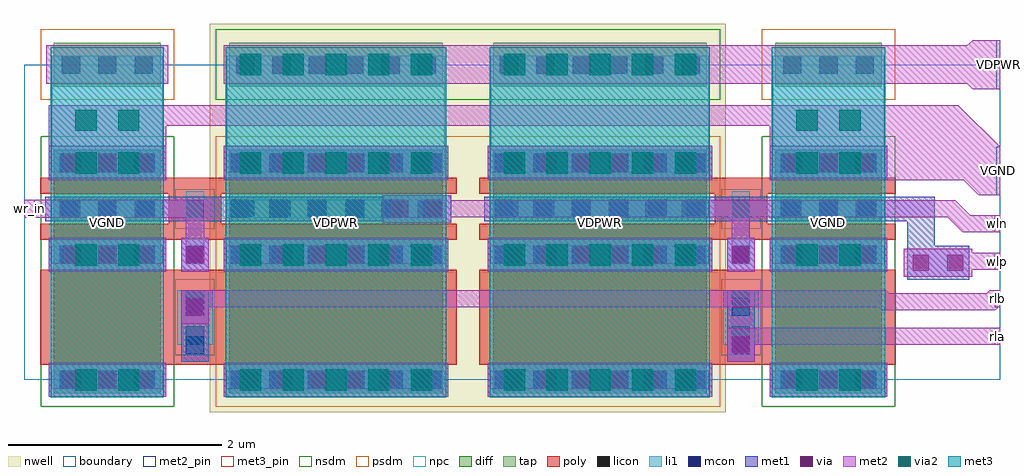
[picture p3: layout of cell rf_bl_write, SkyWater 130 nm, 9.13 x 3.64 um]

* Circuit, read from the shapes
.subckt rf_bl_write VDPWR VGND rla rlb wln wlp wr_in
XM1 VGND rlb VGND VGND sky130_fd_pr__nfet_01v8 w=1 l=0.89
XM2 wln wr_in VGND VGND sky130_fd_pr__nfet_01v8 w=1 l=0.15 m=2
XM3 VGND rla VGND VGND sky130_fd_pr__nfet_01v8 w=1 l=0.89
XM4 wlp wln VGND VGND sky130_fd_pr__nfet_01v8 w=1 l=0.15 m=2
XM5 VDPWR rlb VDPWR VDPWR sky130_fd_pr__pfet_01v8 w=2 l=0.89
XM6 wln wr_in VDPWR VDPWR sky130_fd_pr__pfet_01v8 w=2 l=0.15 m=2
XM7 VDPWR rla VDPWR VDPWR sky130_fd_pr__pfet_01v8 w=2 l=0.89
XM8 wlp wln VDPWR VDPWR sky130_fd_pr__pfet_01v8 w=2 l=0.15 m=2
.ends

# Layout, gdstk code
import gdstk
lib = gdstk.Library(unit=1e-6, precision=1e-09)
def R(c, l, rs):  # rectangles x0, y0, x1, y1
    for r in rs: c.add(gdstk.rectangle(r[:2], r[2:], *l))
def A(c, l, x, y, w, h, nx, ny, dx, dy):  # array of equal rectangles
    R(c, l, [(x+i*dx, y+j*dy, x+i*dx+w, y+j*dy+h) for i in range(nx) for j in range(ny)])
def P(c, l, *ps):  # polygons
    for p in ps: c.add(gdstk.Polygon(p, *l))
nwell = (64, 20)
diff = (65, 20)
tap = (65, 44)
poly = (66, 20)
licon = (66, 44)
li1 = (67, 20)
mcon = (67, 44)
met1 = (68, 20)
via = (68, 44)
met2_pin = (69, 16)
met2 = (69, 20)
via2 = (69, 44)
met3_pin = (70, 16)
met3 = (70, 20)
nsdm = (93, 44)
psdm = (94, 20)
npc = (95, 20)
boundary = (235, 4)

rf_bl_write = lib.new_cell('rf_bl_write')
R(rf_bl_write, nwell, [(2.6,-1.66,7.43,1.98)])
R(rf_bl_write, diff, [(1.14,-1.48,2.14,0.8), (2.78,-1.48,4.78,0.8), (5.25,-1.48,7.25,0.8), (7.89,-1.48,8.89,0.8)])
R(rf_bl_write, tap, [(1.14,1.39,2.14,1.8), (2.78,1.39,4.78,1.8), (5.25,1.39,7.25,1.8), (7.89,1.39,8.89,1.8)])
R(rf_bl_write, poly, [(1.01,-1.215,4.91,-0.325), (5.12,-1.215,9.02,-0.325), (1.01,-0.045,4.91,0.105), (5.12,-0.045,9.02,0.105), (2.215,0.105,2.705,0.385), (7.325,0.105,7.815,0.385), (1.01,0.385,4.91,0.535), (5.12,0.385,9.02,0.535)])
A(rf_bl_write, licon, 1.215, -1.44, 0.17, 0.17, 3, 2, 0.34, 1.17)
A(rf_bl_write, licon, 2.845, -1.44, 0.17, 0.17, 6, 2, 0.34, 1.17)
A(rf_bl_write, licon, 5.315, -1.44, 0.17, 0.17, 6, 2, 0.34, 1.17)
A(rf_bl_write, licon, 7.965, -1.44, 0.17, 0.17, 3, 2, 0.34, 1.17)
A(rf_bl_write, licon, 1.215, 0.16, 0.17, 0.17, 3, 2, 0.34, 0.43)
A(rf_bl_write, licon, 2.845, 0.16, 0.17, 0.17, 6, 2, 0.34, 0.43)
A(rf_bl_write, licon, 5.315, 0.16, 0.17, 0.17, 6, 2, 0.34, 0.43)
A(rf_bl_write, licon, 7.965, 0.16, 0.17, 0.17, 3, 2, 0.34, 0.43)
A(rf_bl_write, licon, 1.215, 1.51, 0.17, 0.17, 3, 1, 0.34, 0)
A(rf_bl_write, licon, 2.845, 1.51, 0.17, 0.17, 6, 1, 0.34, 0)
A(rf_bl_write, licon, 5.315, 1.51, 0.17, 0.17, 6, 1, 0.34, 0)
A(rf_bl_write, licon, 7.965, 1.51, 0.17, 0.17, 3, 1, 0.34, 0)
R(rf_bl_write, licon, [(2.375,-1.025,2.545,-0.855), (7.485,-1.025,7.655,-0.855), (2.375,-0.685,2.545,-0.515), (7.485,-0.685,7.655,-0.515), (2.375,0.16,2.545,0.33), (7.485,0.16,7.655,0.33)])
R(rf_bl_write, li1, [(1.12,-1.44,2.16,-1.27), (2.76,-1.44,4.8,-1.27), (5.23,-1.44,7.27,-1.27), (7.87,-1.44,8.91,-1.27), (2.33,-1.125,2.59,-1.025), (7.44,-1.125,7.7,-1.025), (2.295,-1.025,2.625,-0.515), (7.405,-1.025,7.735,-0.515), (1.12,-0.27,2.16,-0.1), (2.375,-0.27,2.545,0.41), (2.76,-0.27,4.8,-0.1), (5.23,-0.27,7.27,-0.1), (7.485,-0.27,7.655,0.41), (7.87,-0.27,8.91,-0.1), (1.12,0.16,2.16,0.33), (2.76,0.16,4.8,0.33), (5.23,0.16,7.27,0.33), (7.87,0.16,8.91,0.33), (1.12,0.59,2.16,1.68), (2.76,0.59,4.8,1.68), (5.23,0.59,7.27,1.68), (7.87,0.59,8.91,1.68)])
A(rf_bl_write, mcon, 1.195, -1.44, 0.17, 0.17, 3, 2, 0.36, 1.17)
A(rf_bl_write, mcon, 2.795, -1.44, 0.17, 0.17, 6, 2, 0.36, 1.17)
A(rf_bl_write, mcon, 5.265, -1.44, 0.17, 0.17, 6, 2, 0.36, 1.17)
A(rf_bl_write, mcon, 7.945, -1.44, 0.17, 0.17, 3, 2, 0.36, 1.17)
A(rf_bl_write, mcon, 1.195, 0.16, 0.17, 0.17, 3, 2, 0.36, 0.43)
A(rf_bl_write, mcon, 2.795, 0.16, 0.17, 0.17, 6, 2, 0.36, 0.43)
A(rf_bl_write, mcon, 5.265, 0.16, 0.17, 0.17, 6, 2, 0.36, 0.43)
A(rf_bl_write, mcon, 7.945, 0.16, 0.17, 0.17, 3, 2, 0.36, 0.43)
R(rf_bl_write, mcon, [(2.375,-1.115,2.545,-0.945), (7.485,-1.115,7.655,-0.945), (2.375,-0.755,2.545,-0.585), (7.485,-0.755,7.655,-0.585), (2.375,-0.27,2.545,-0.1), (7.485,-0.27,7.655,-0.1)])
R(rf_bl_write, met1, [(1.09,-1.515,2.19,-1.195), (2.73,-1.515,4.83,-1.195), (5.2,-1.515,7.3,-1.195), (7.84,-1.515,8.94,-1.195), (2.33,-1.185,2.59,-0.515), (7.44,-1.185,7.7,-0.515), (9.125,-0.42,9.705,-0.1), (1.09,-0.345,2.19,-0.025), (2.33,-0.345,2.59,-0.025), (2.73,-0.345,4.83,-0.025), (5.2,-0.345,7.3,-0.025), (7.44,-0.345,7.7,-0.025), (7.84,-0.345,8.94,-0.025), (9.125,-0.1,9.385,0.13), (4.22,0.115,4.86,0.13), (1.06,0.13,4.86,0.36), (5.17,0.13,9.385,0.36), (4.22,0.36,4.86,0.375), (1.09,0.515,2.19,0.835), (2.73,0.515,4.83,0.835), (5.2,0.515,7.3,0.835), (7.84,0.515,8.94,0.835)])
A(rf_bl_write, via, 1.245, -1.43, 0.15, 0.15, 3, 2, 0.32, 1.17)
A(rf_bl_write, via, 2.905, -1.43, 0.15, 0.15, 6, 2, 0.32, 1.17)
A(rf_bl_write, via, 5.375, -1.43, 0.15, 0.15, 6, 2, 0.32, 1.17)
A(rf_bl_write, via, 7.995, -1.43, 0.15, 0.15, 3, 2, 0.32, 1.17)
A(rf_bl_write, via, 1.245, 0.6, 0.15, 0.15, 3, 1, 0.32, 0)
A(rf_bl_write, via, 2.905, 0.6, 0.15, 0.15, 6, 1, 0.32, 0)
A(rf_bl_write, via, 5.375, 0.6, 0.15, 0.15, 6, 1, 0.32, 0)
A(rf_bl_write, via, 7.995, 0.6, 0.15, 0.15, 3, 1, 0.32, 0)
R(rf_bl_write, via, [(7.495,-1.1,7.645,-0.95), (2.385,-0.75,2.535,-0.6), (9.18,-0.335,9.33,-0.185), (9.5,-0.335,9.65,-0.185), (2.385,-0.26,2.535,-0.11), (7.495,-0.26,7.645,-0.11), (4.305,0.17,4.455,0.32), (4.625,0.17,4.775,0.32)])
A(rf_bl_write, met2_pin, 9.945, -1.025, 0.05, 0.16, 1, 4, 0, 0.35)
R(rf_bl_write, met2_pin, [(0.86,0.16,0.96,0.33), (9.96,0.375,9.995,0.825), (9.96,1.365,9.995,1.825)])
R(rf_bl_write, met2, [(1.09,-1.515,2.19,-1.195), (2.73,-1.515,4.83,-1.195), (5.2,-1.515,7.3,-1.195), (7.84,-1.515,8.94,-1.195), (7.44,-1.185,7.7,-1.025), (7.44,-1.025,9.995,-0.865), (2.33,-0.835,2.59,-0.675), (8.88,-0.705,9.95,-0.675), (2.33,-0.675,9.995,-0.545), (2.33,-0.545,8.93,-0.515), (9.9,-0.545,9.995,-0.515), (9.095,-0.39,9.735,-0.325), (1.09,-0.345,2.19,-0.025), (2.33,-0.345,2.59,-0.025), (2.73,-0.345,4.83,-0.025), (5.2,-0.345,7.3,-0.025), (7.44,-0.345,7.7,-0.025), (7.84,-0.345,8.94,-0.025), (9.095,-0.325,9.995,-0.165), (9.095,-0.165,9.735,-0.13), (2.375,-0.025,2.545,0.16), (7.485,-0.025,7.655,0.165), (9.645,0.025,9.995,0.165), (4.22,0.115,4.86,0.165), (0.86,0.16,2.545,0.33), (4.22,0.165,9.995,0.185), (4.22,0.185,9.575,0.325), (4.22,0.325,4.86,0.375), (9.795,0.375,9.995,0.515), (1.09,0.515,2.19,1.025), (2.73,0.515,4.83,0.835), (5.2,0.515,7.3,0.835), (7.84,0.515,9.995,0.825), (7.84,0.825,9.605,1.025), (1.09,1.025,9.605,1.215), (9.74,1.365,9.995,1.415), (1.07,1.415,2.21,1.775), (2.73,1.415,9.995,1.775), (9.74,1.775,9.995,1.825)])
P(rf_bl_write, met2, [(9.69,1.775),(9.74,1.775),(9.74,1.825)],
  [(9.69,1.415),(9.74,1.415),(9.74,1.365)],
  [(9.605,1.215),(9.605,0.825),(9.995,0.825)],
  [(9.655,0.515),(9.795,0.515),(9.795,0.375)],
  [(9.575,0.325),(9.575,0.185),(9.715,0.185)],
  [(9.505,0.165),(9.645,0.165),(9.645,0.025)],
  [(8.93,-0.515),(8.93,-0.545),(8.96,-0.545)],
  [(9.87,-0.545),(9.9,-0.545),(9.9,-0.515)],
  [(8.85,-0.675),(8.88,-0.675),(8.88,-0.705)],
  [(9.95,-0.705),(9.95,-0.675),(9.98,-0.675)])
A(rf_bl_write, via2, 2.88, -1.455, 0.2, 0.2, 5, 2, 0.4, 1.17)
A(rf_bl_write, via2, 5.35, -1.455, 0.2, 0.2, 5, 2, 0.4, 1.17)
A(rf_bl_write, via2, 2.88, 0.575, 0.2, 0.2, 5, 2, 0.4, 0.92)
A(rf_bl_write, via2, 5.35, 0.575, 0.2, 0.2, 5, 2, 0.4, 0.92)
R(rf_bl_write, via2, [(1.34,-1.455,1.54,-1.255), (1.74,-1.455,1.94,-1.255), (8.09,-1.455,8.29,-1.255), (8.49,-1.455,8.69,-1.255), (1.34,-0.285,1.54,-0.085), (1.74,-0.285,1.94,-0.085), (8.09,-0.285,8.29,-0.085), (8.49,-0.285,8.69,-0.085), (1.34,0.575,1.54,0.775), (1.74,0.575,1.94,0.775), (8.09,0.575,8.29,0.775), (8.49,0.575,8.69,0.775), (1.34,0.975,1.54,1.175), (1.74,0.975,1.94,1.175), (8.09,0.975,8.29,1.175), (8.49,0.975,8.69,1.175)])
R(rf_bl_write, met3_pin, [(1.11,-1.52,2.17,1.76), (2.75,-1.52,4.81,1.76), (5.22,-1.52,7.28,1.76), (7.86,-1.52,8.92,1.76)])
R(rf_bl_write, met3, [(1.11,-1.52,2.17,1.76), (2.75,-1.52,4.81,1.76), (5.22,-1.52,7.28,1.76), (7.86,-1.52,8.92,1.76)])
R(rf_bl_write, nsdm, [(1.015,-1.605,2.265,0.925), (7.765,-1.605,9.015,0.925), (2.655,1.265,7.375,1.925)])
R(rf_bl_write, psdm, [(2.655,-1.605,7.375,0.925), (1.015,1.265,2.265,1.925), (7.765,1.265,9.015,1.925)])
R(rf_bl_write, npc, [(2.275,-1.125,2.645,-0.415), (7.385,-1.125,7.755,-0.415), (2.275,0.06,2.645,0.43), (7.385,0.06,7.755,0.43)])
R(rf_bl_write, boundary, [(0.86,-1.355,9.995,1.595)])
rf_bl_write.add(gdstk.Label('VGND', (9.977,0.6), layer=69, texttype=5))
rf_bl_write.add(gdstk.Label('VGND', (1.64,0.12), layer=70, texttype=5))
rf_bl_write.add(gdstk.Label('VGND', (8.39,0.12), layer=70, texttype=5))
rf_bl_write.add(gdstk.Label('VDPWR', (9.977,1.595), layer=69, texttype=5))
rf_bl_write.add(gdstk.Label('VDPWR', (3.78,0.12), layer=70, texttype=5))
rf_bl_write.add(gdstk.Label('VDPWR', (6.25,0.12), layer=70, texttype=5))
rf_bl_write.add(gdstk.Label('wr_in', (0.91,0.245), layer=69, texttype=5))
rf_bl_write.add(gdstk.Label('wlp', (9.97,-0.245), layer=69, texttype=5))
rf_bl_write.add(gdstk.Label('wln', (9.97,0.105), layer=69, texttype=5))
rf_bl_write.add(gdstk.Label('rla', (9.97,-0.945), layer=69, texttype=5))
rf_bl_write.add(gdstk.Label('rlb', (9.97,-0.595), layer=69, texttype=5))

lib.write_gds('rf_bl_write.gds')
